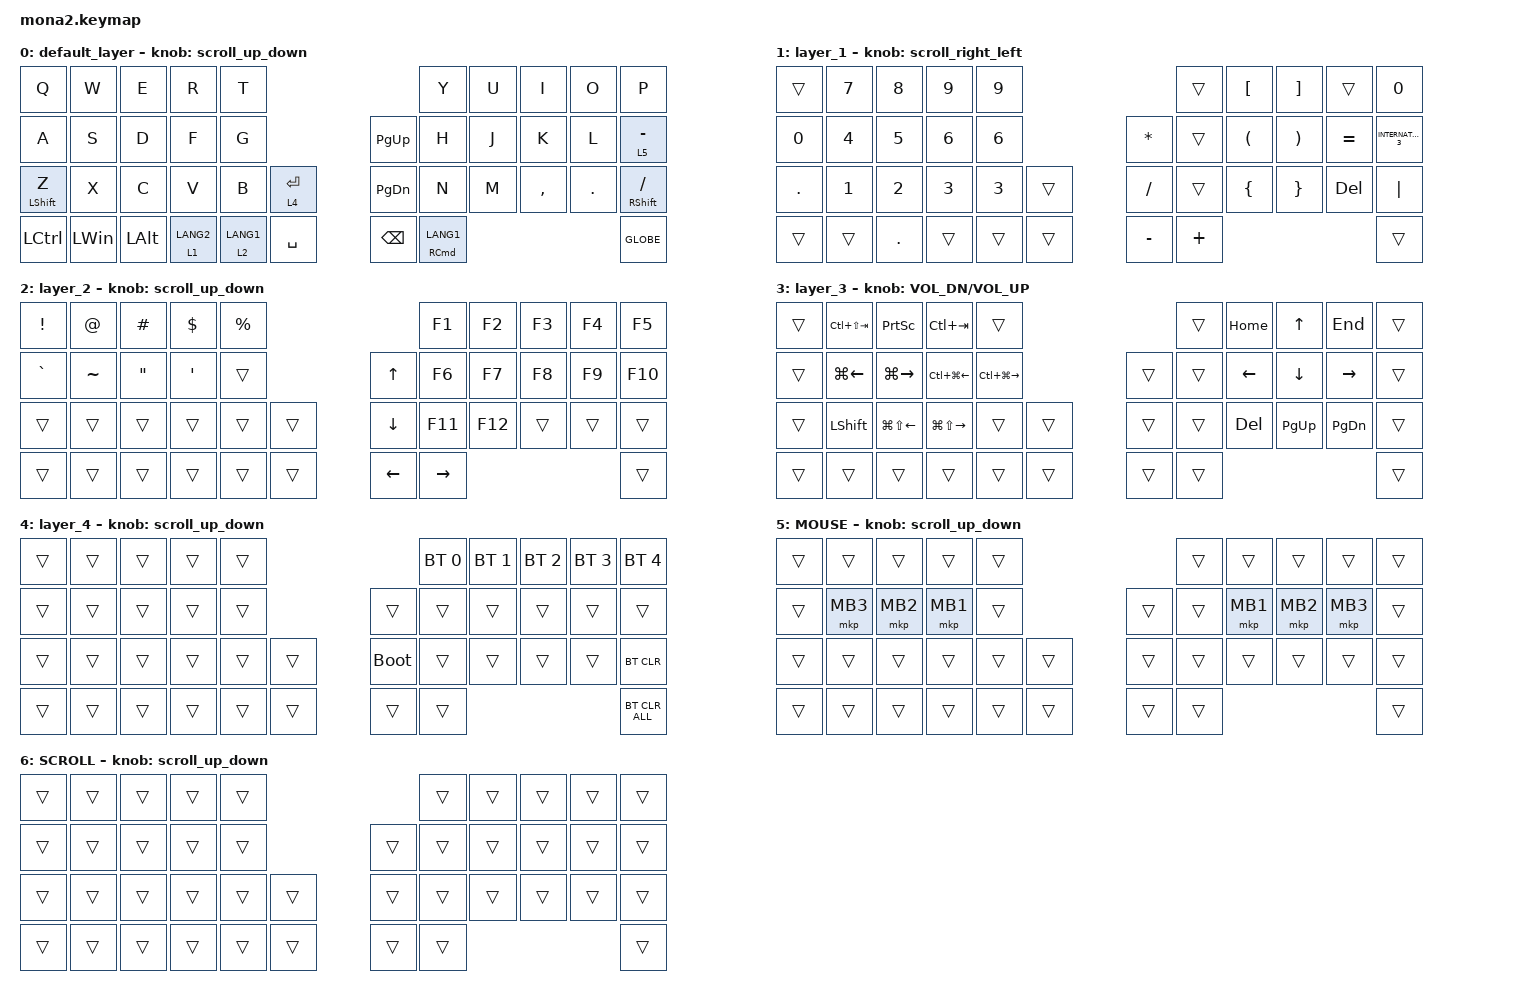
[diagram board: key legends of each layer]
#include <input/processors.dtsi>
#include <dt-bindings/zmk/input_transform.h>
#include <zephyr/dt-bindings/input/input-event-codes.h>
#include <behaviors.dtsi>
#include <dt-bindings/zmk/bt.h>
#include <dt-bindings/zmk/keys.h>
#include <dt-bindings/zmk/pointing.h>

#define ZMK_POINTING_DEFAULT_SCRL_VAL 100
#define MOUSE 5
#define SCROLL 6

&mt {
    flavor = "balanced";
    quick-tap-ms = <0>;
};

&lt {
    quick-tap-ms = <300>;
    flavor = "balanced";
};

/ {
    combos {
        compatible = "zmk,combos";

        tab {
            bindings = <&kp TAB>;
            key-positions = <11 12>;
        };

        colon {
            bindings = <&kp COLON>;
            key-positions = <19 31>;
        };

        semicolon {
            bindings = <&kp SEMICOLON>;
            key-positions = <18 30>;
        };

        esc {
            bindings = <&kp ESC>;
            key-positions = <38 41>;
        };

        enter {
            bindings = <&kp ENTER>;
            key-positions = <19 18>;
        };

        PSCR {
            bindings = <&kp PRINTSCREEN>;
            key-positions = <9 41>;
        };

        atmark {
            bindings = <&kp AT>;
            key-positions = <20 19>;
        };

        underscore {
            bindings = <&kp UNDER>;
            key-positions = <32 31>;
        };
    };

    macros {
        to_layer_0: to_layer_0 {
            compatible = "zmk,behavior-macro-one-param";
            #binding-cells = <1>;
            bindings = <&to 0 &macro_param_1to1 &kp MACRO_PLACEHOLDER>;
            label = "TO_LAYER_0";
        };
    };

    behaviors {
        lt_to_layer_0: lt_to_layer_0 {
            compatible = "zmk,behavior-hold-tap";
            label = "LAYER_TAP_TO_0";
            bindings = <&mo>, <&to_layer_0>;

            #binding-cells = <2>;
            tapping-term-ms = <200>;
        };

        scroll_up_down: mouse_wheel_up_down {
            compatible = "zmk,behavior-sensor-rotate";
            #sensor-binding-cells = <0>;
            bindings = <&msc SCRL_DOWN>, <&msc SCRL_UP>;

            tap-ms = <20>;
        };

        scroll_right_left: mouse_wheel_right_left {
            compatible = "zmk,behavior-sensor-rotate";
            #sensor-binding-cells = <0>;
            bindings = <&msc SCRL_LEFT>, <&msc SCRL_RIGHT>;

            tap-ms = <20>;
        };
    };

    keymap {
        compatible = "zmk,keymap";

        default_layer {
            bindings = <
&kp Q             &kp W         &kp E         &kp R        &kp T                                      &kp Y                    &kp U  &kp I      &kp O    &kp P
&kp A             &kp S         &kp D         &kp F        &kp G                       &kp PAGE_UP    &kp H                    &kp J  &kp K      &kp L    &lt 5 MINUS
&mt LEFT_SHIFT Z  &kp X         &kp C         &kp V        &kp B        &lt 4 ENTER    &kp PAGE_DOWN  &kp N                    &kp M  &kp COMMA  &kp DOT  &mt RIGHT_SHIFT SLASH
&kp LCTRL         &kp LEFT_WIN  &kp LEFT_ALT  &lt 1 LANG2  &lt 2 LANG1  &kp SPACE      &kp BACKSPACE  &mt RIGHT_COMMAND LANG1                             &kp GLOBE
            >;

            sensor-bindings = <&scroll_up_down>;
        };

        layer_1 {
            bindings = <
&trans   &kp NUMBER_7  &kp N8        &kp N9        &kp NUMBER_9                       &trans    &kp LEFT_BRACKET      &kp RIGHT_BRACKET      &trans     &kp NUMBER_0
&kp N0   &kp NUMBER_4  &kp N5        &kp NUMBER_6  &kp NUMBER_6            &kp ASTRK  &trans    &kp LEFT_PARENTHESIS  &kp RIGHT_PARENTHESIS  &kp EQUAL  &kp INTERNATIONAL_3
&kp DOT  &kp NUMBER_1  &kp NUMBER_2  &kp NUMBER_3  &kp NUMBER_3  &trans    &kp SLASH  &trans    &kp LEFT_BRACE        &kp RIGHT_BRACE        &kp DEL    &kp PIPE
&trans   &trans        &kp PERIOD    &trans        &trans        &trans    &kp MINUS  &kp PLUS                                                          &trans
            >;

            sensor-bindings = <&scroll_right_left>;
        };

        layer_2 {
            bindings = <
&kp EXCLAMATION  &kp AT_SIGN  &kp POUND          &kp DOLLAR  &kp PERCENT                            &kp F1           &kp F2   &kp F3  &kp F4  &kp F5
&kp GRAVE        &kp TILDE    &kp DOUBLE_QUOTES  &kp SQT     &trans                 &kp UP_ARROW    &kp F6           &kp F7   &kp F8  &kp F9  &kp F10
&trans           &trans       &trans             &trans      &trans       &trans    &kp DOWN_ARROW  &kp F11          &kp F12  &trans  &trans  &trans
&trans           &trans       &trans             &trans      &trans       &trans    &kp LEFT_ARROW  &kp RIGHT_ARROW                           &trans
            >;

            sensor-bindings = <&scroll_up_down>;
        };

        layer_3 {
            bindings = <
&trans  &kp LC(LS(TAB))     &kp PRINTSCREEN         &kp LC(TAB)              &trans                                     &trans  &kp HOME        &kp UP_ARROW    &kp END          &trans
&trans  &kp LG(LEFT_ARROW)  &kp LG(RIGHT_ARROW)     &kp LC(LG(LEFT_ARROW))   &kp LC(LG(RIGHT_ARROW))            &trans  &trans  &kp LEFT_ARROW  &kp DOWN_ARROW  &kp RIGHT_ARROW  &trans
&trans  &kp LEFT_SHIFT      &kp LG(LS(LEFT_ARROW))  &kp LG(LS(RIGHT_ARROW))  &trans                   &trans    &trans  &trans  &kp DELETE      &kp PAGE_UP     &kp PAGE_DOWN    &trans
&trans  &trans              &trans                  &trans                   &trans                   &trans    &trans  &trans                                                   &trans
            >;

            sensor-bindings = <&inc_dec_kp C_VOL_DN C_VOL_UP>;
        };

        layer_4 {
            bindings = <
&trans  &trans  &trans  &trans  &trans                         &bt BT_SEL 0  &bt BT_SEL 1  &bt BT_SEL 2  &bt BT_SEL 3  &bt BT_SEL 4
&trans  &trans  &trans  &trans  &trans            &trans       &trans        &trans        &trans        &trans        &trans
&trans  &trans  &trans  &trans  &trans  &trans    &bootloader  &trans        &trans        &trans        &trans        &bt BT_CLR
&trans  &trans  &trans  &trans  &trans  &trans    &trans       &trans                                                  &bt BT_CLR_ALL
            >;

            sensor-bindings = <&scroll_up_down>;
        };

        MOUSE {
            bindings = <
&trans  &trans    &trans    &trans    &trans                    &trans  &trans    &trans    &trans    &trans
&trans  &mkp MB3  &mkp MB2  &mkp MB1  &trans            &trans  &trans  &mkp MB1  &mkp MB2  &mkp MB3  &trans
&trans  &trans    &trans    &trans    &trans  &trans    &trans  &trans  &trans    &trans    &trans    &trans
&trans  &trans    &trans    &trans    &trans  &trans    &trans  &trans                                &trans
            >;

            sensor-bindings = <&scroll_up_down>;
        };

        SCROLL {
            bindings = <
&trans  &trans  &trans  &trans  &trans                    &trans  &trans  &trans  &trans  &trans
&trans  &trans  &trans  &trans  &trans            &trans  &trans  &trans  &trans  &trans  &trans
&trans  &trans  &trans  &trans  &trans  &trans    &trans  &trans  &trans  &trans  &trans  &trans
&trans  &trans  &trans  &trans  &trans  &trans    &trans  &trans                          &trans
            >;

            sensor-bindings = <&scroll_up_down>;
        };
    };
};
